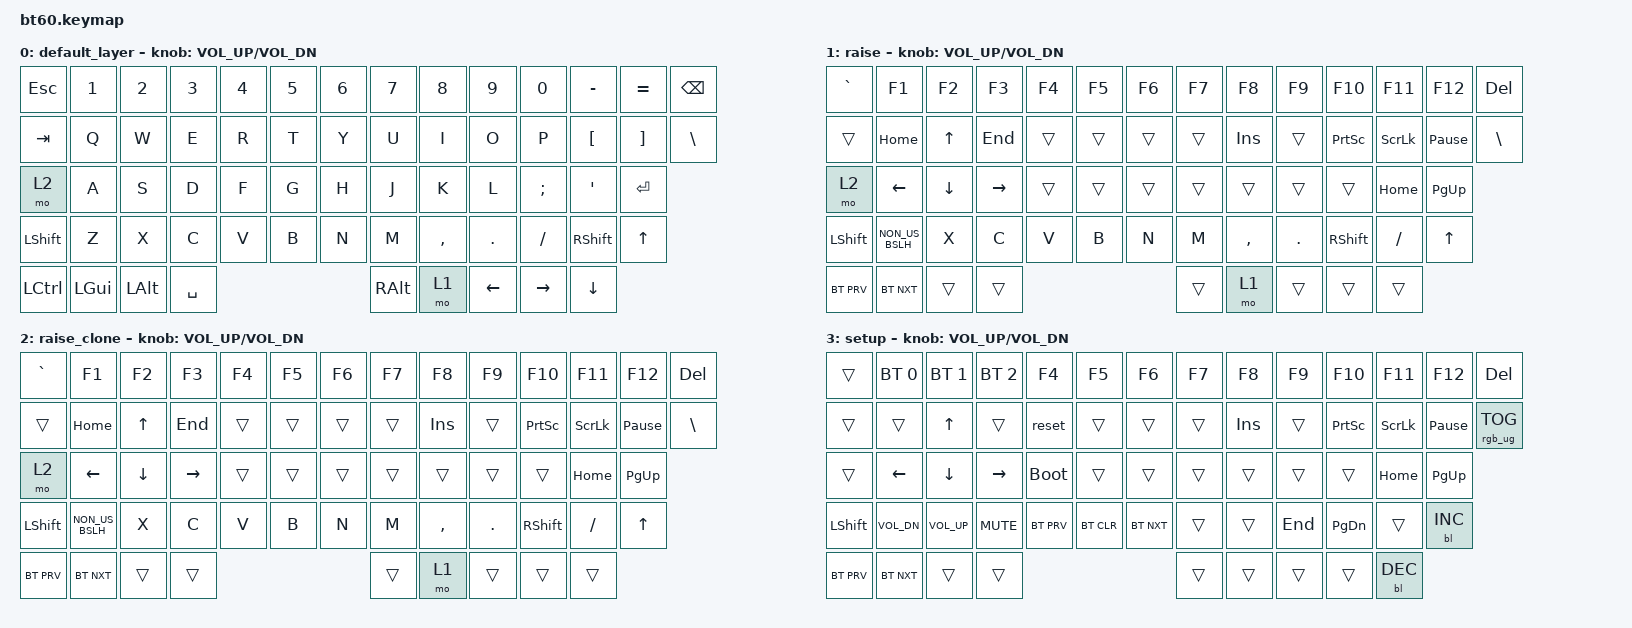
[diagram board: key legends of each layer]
#include <behaviors.dtsi>
#include <dt-bindings/zmk/keys.h>
#include <dt-bindings/zmk/bt.h>
#include <dt-bindings/zmk/rgb.h>
#include <dt-bindings/zmk/backlight.h>

/ {

	  conditional_layers {
            compatible = "zmk,conditional-layers";
            config_from_default {
                if-layers = <1 2>;
                then-layer = <3>;
			};
        };

	keymap {
		compatible = "zmk,keymap";

		default_layer {
				// ------------------------------------------------------------------------------------------
				// |  `  |  1  |  2  |  3  |  4  |  5  |  6  |  7  |  8  |  9  |  0  |  -  |  =  |   BKSP
				// | TAB  |  Q  |  W  |  E  |  R  |  T  |  Y  |  U  |  I  |  O  |  P  |  [  |  ]  |   |
				// | CAPS  |  A  |  S  |  D  |  F  |  G  |  H  |  J  |  K  |  L  |  ;  |  '  |     ENTER
				// |  SHIFT    |  Z  |  X  |  C  |  V  |  B  |  N  |  M  |  ,  |  .  |   SHIFT | UP | ?
				// |  CTL  |  WIN  |  ALT  |            SPACE               | ALT | 1 | LEFT | DOWN |RIGHT
				// ------------------------------------------------------------------------------------------
			bindings = <

				&kp ESC 	&kp N1 				&kp N2 			&kp N3 			&kp N4 		&kp N5 		&kp N6 		&kp N7 	&kp  N8   	&kp  N9 	&kp  N0  		&kp MINUS 		&kp EQUAL 		&kp BSPC
				&kp TAB  	&kp Q  				&kp W  			&kp E  			&kp R  		&kp T  		&kp Y  		&kp U  	&kp  I    	&kp  O  	&kp  P   		&kp LBKT 		&kp RBKT   		&kp BACKSLASH
				&mo 2  		&kp A  				&kp S  			&kp D  			&kp F  		&kp G 		&kp H  		&kp J  	&kp  K    	&kp  L  	&kp SEMI 		&kp SQT     	&kp RET
				&kp LSHFT  	&kp Z 				&kp X  			&kp C  			&kp V  		&kp B  		&kp N  		&kp M  	&kp COMMA 	&kp DOT 	&kp FSLH		&kp RSHFT  		&kp UP  		
				&kp LCTRL 	&kp LGUI 			&kp LALT            &kp SPACE                       				&kp RALT  	&mo 1 	&kp LEFT  	&kp RIGHT		&kp DOWN 
			>;
			sensor-bindings = <&inc_dec_kp C_VOL_UP C_VOL_DN>;
		};
		raise {
			bindings = <
				&kp GRAVE 	&kp F1 				&kp F2 			&kp F3 			&kp F4 		&kp F5 		&kp F6 		&kp F7 	&kp F8 		&kp F9 		&kp F10 		&kp F11 		&kp F12 			&kp DEL
				&trans 		&kp HOME 			&kp UP 			&kp END 		&trans 		&trans 		&trans 		&trans 	&kp INS 	&trans 		&kp PSCRN 		&kp SLCK 		&kp PAUSE_BREAK  	&kp BACKSLASH
				&mo 2   	&kp LEFT 			&kp DOWN 		&kp RIGHT 		&trans 		&trans 		&trans 		&trans 	&trans 		&trans 		&trans			&kp HOME  		&kp PG_UP   	
				&kp LSHFT  	&kp NON_US_BSLH 	&kp X  			&kp C  			&kp V  		&kp B  		&kp N  		&kp M  	&kp COMMA 	&kp DOT 	&kp RSHFT  		&kp FSLH		&kp UP
				&bt BT_PRV 	&bt BT_NXT  		&trans              &trans                            	&trans   	&mo 1  	&trans 		&trans  	&trans 
			>;
			sensor-bindings = <&inc_dec_kp C_VOL_UP C_VOL_DN>;
		};
		raise_clone {
			bindings = <
				&kp GRAVE 	&kp F1 				&kp F2 			&kp F3 			&kp F4 		&kp F5 		&kp F6 		&kp F7 	&kp F8 		&kp F9 		&kp F10 		&kp F11 		&kp F12 			&kp DEL
				&trans 		&kp HOME 			&kp UP 			&kp END 		&trans 		&trans 		&trans 		&trans 	&kp INS 	&trans 		&kp PSCRN 		&kp SLCK 		&kp PAUSE_BREAK  	&kp BACKSLASH
				&mo 2   	&kp LEFT 			&kp DOWN 		&kp RIGHT 		&trans 		&trans 		&trans 		&trans 	&trans 		&trans 		&trans			&kp HOME  		&kp PG_UP   	
				&kp LSHFT  	&kp NON_US_BSLH 	&kp X  			&kp C  			&kp V  		&kp B  		&kp N  		&kp M  	&kp COMMA 	&kp DOT 	&kp RSHFT  		&kp FSLH		&kp UP
				&bt BT_PRV 	&bt BT_NXT  		&trans              &trans                            	&trans   	&mo 1  	&trans 		&trans  	&trans 
			>;
			sensor-bindings = <&inc_dec_kp C_VOL_UP C_VOL_DN>;
		};
		setup {
			bindings = <
				&trans 		&bt BT_SEL 0 		&bt BT_SEL 1 	&bt BT_SEL 2 	&kp F4 		&kp F5 		&kp F6 		&kp F7 	&kp F8 		&kp F9 		&kp F10 		&kp F11 		&kp F12 			&kp DEL
				&trans 		&trans 				&kp UP 			&trans 			&reset 		&trans 		&trans 		&trans 	&kp INS 	&trans 		&kp PSCRN 		&kp SLCK 		&kp PAUSE_BREAK 	&rgb_ug RGB_TOG
				&trans   	&kp LEFT 			&kp DOWN 		&kp RIGHT 		&bootloader &trans 		&trans 		&trans 	&trans 		&trans 		&trans			&kp HOME  		&kp PG_UP   	
				&kp LSHFT 	&kp C_VOL_DN 		&kp C_VOL_UP 	&kp C_MUTE 		&bt BT_PRV 	&bt BT_CLR 	&bt BT_NXT 	&trans 	&trans 		&kp END 	&kp PG_DN  		&trans			&bl BL_INC 	
				&bt BT_PRV 	&bt BT_NXT  		&trans              &trans                            	&trans   	&trans  &trans 		&trans 		&bl BL_DEC
			>;
			sensor-bindings = <&inc_dec_kp C_VOL_UP C_VOL_DN>;
		};
	};
};
